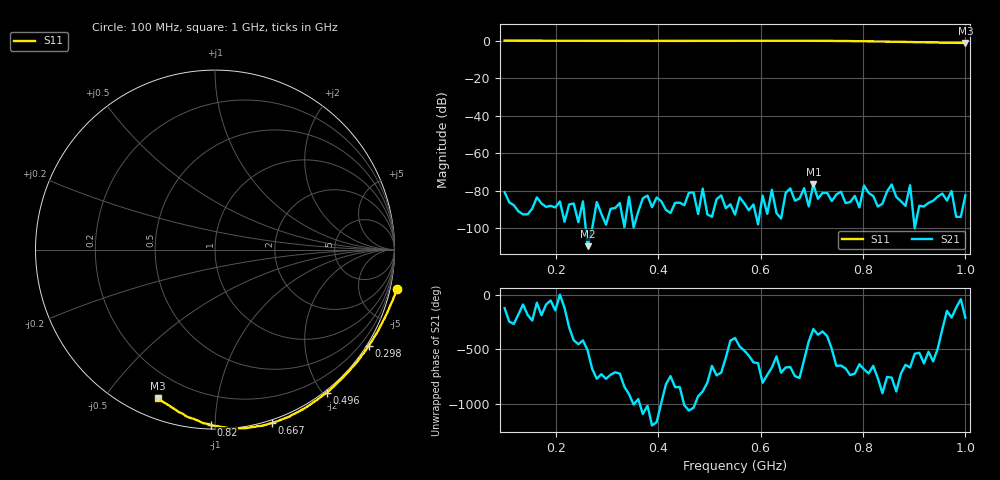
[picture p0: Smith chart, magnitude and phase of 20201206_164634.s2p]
# HZ S RI R 50
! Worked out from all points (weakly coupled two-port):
!   101 points, 100 MHz to 1 GHz, reference 50 ohm
!   highest |S21| = -76.69 dB at 703 MHz (marker M1); lowest = -109.8 dB at 262 MHz (marker M2)
!   lowest |S11| = -1.1 dB at 1 GHz (marker M3), VSWR 16.52, Z = 4.44 - j34.1 ohm
!   |S11| at or under -10 dB: nowhere
!   S12 and S22 are empty: the file has one direction only
!   S11 on the Smith chart (normalised r, x): 100 MHz: -1.53, -9.08; 298 MHz: -0.06, -3.48; 496 MHz: -0.03, -2.05; 667 MHz: -0.02, -1.38; 820 MHz: 0.02, -0.98; 1 GHz: 0.09, -0.68
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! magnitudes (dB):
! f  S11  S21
! 100 MHz  0.3  -80.9
! 253 MHz  0.1  -85.8
! 262 MHz  0.1  -109.8
! 298 MHz  0.1  -98.3
! 406 MHz  0.1  -85.8
! 496 MHz  0.1  -92.8
! 550 MHz  0.1  -92.9
! 667 MHz  0.1  -85.4
! 694 MHz  0.1  -88.5
! 703 MHz  0.1  -76.7
! 712 MHz  0.1  -84.4
! 793 MHz  -0.1  -89.0
! 802 MHz  -0.1  -77.3
! 811 MHz  -0.2  -81.3
! 820 MHz  -0.2  -83.0
! 847 MHz  -0.3  -80.5
! 856 MHz  -0.4  -76.8
! 865 MHz  -0.4  -83.4
! 883 MHz  -0.5  -88.2
! 892 MHz  -0.5  -77.2
! 901 MHz  -0.6  -100.2
! 1 GHz  -1.1  -82.6
